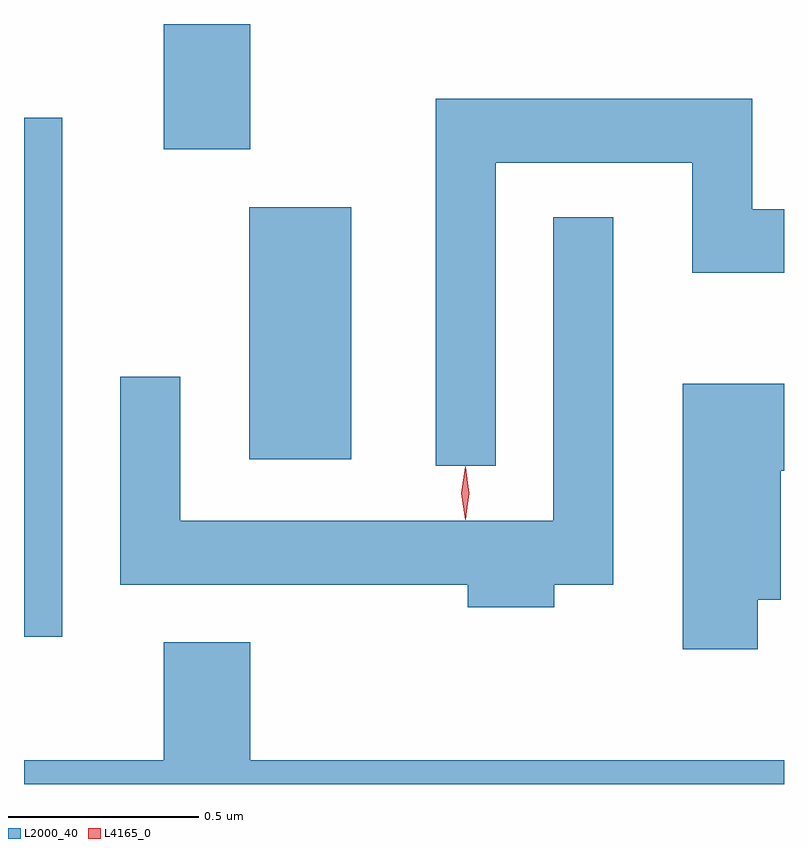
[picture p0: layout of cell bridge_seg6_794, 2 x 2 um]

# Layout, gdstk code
import gdstk
lib = gdstk.Library(unit=1e-6, precision=1e-09)
def R(c, l, rs):  # rectangles x0, y0, x1, y1
    for r in rs: c.add(gdstk.rectangle(r[:2], r[2:], *l))
def P(c, l, *ps):  # polygons
    for p in ps: c.add(gdstk.Polygon(p, *l))
L2000_40 = (2000, 40)
L4165_0 = (4165, 0)

bridge_seg6_794 = lib.new_cell('bridge_seg6_794')
R(bridge_seg6_794, L2000_40, [(435.933,1566.168,436.034,1567.534), (436.526,1566.636,436.794,1567.299), (436.301,1567.451,436.529,1567.781)])
P(bridge_seg6_794, L2000_40, [(437.174,1567.416),(437.691,1567.416),(437.691,1567.126),(437.933,1567.126),(437.933,1567.294),(437.849,1567.294),(437.849,1567.584),(437.016,1567.584),(437.016,1566.618),(437.174,1566.618)],
  [(437.329,1566.306),(437.484,1566.306),(437.484,1567.273),(437.326,1567.273),(437.326,1566.474),(436.344,1566.474),(436.344,1566.853),(436.186,1566.853),(436.186,1566.306),(437.101,1566.306),(437.101,1566.246),(437.329,1566.246)],
  [(437.864,1566.266),(437.924,1566.266),(437.924,1566.606),(437.933,1566.606),(437.933,1566.834),(437.666,1566.834),(437.666,1566.136),(437.864,1566.136)],
  [(437.933,1565.844),(436.529,1565.844),(436.529,1566.154),(436.301,1566.154),(436.301,1565.844),(435.933,1565.844),(435.933,1565.781),(437.933,1565.781)])
P(bridge_seg6_794, L4165_0, [(437.095,1566.479),(437.094,1566.48),(437.085,1566.546),(437.094,1566.612),(437.095,1566.613),(437.095,1566.612),(437.105,1566.546),(437.095,1566.48)],
  [(437.094,1566.477),(437.094,1566.477),(437.084,1566.546),(437.094,1566.616),(437.094,1566.616),(437.095,1566.616),(437.104,1566.546),(437.095,1566.477)])

lib.write_gds('bridge_seg6_794.gds')
